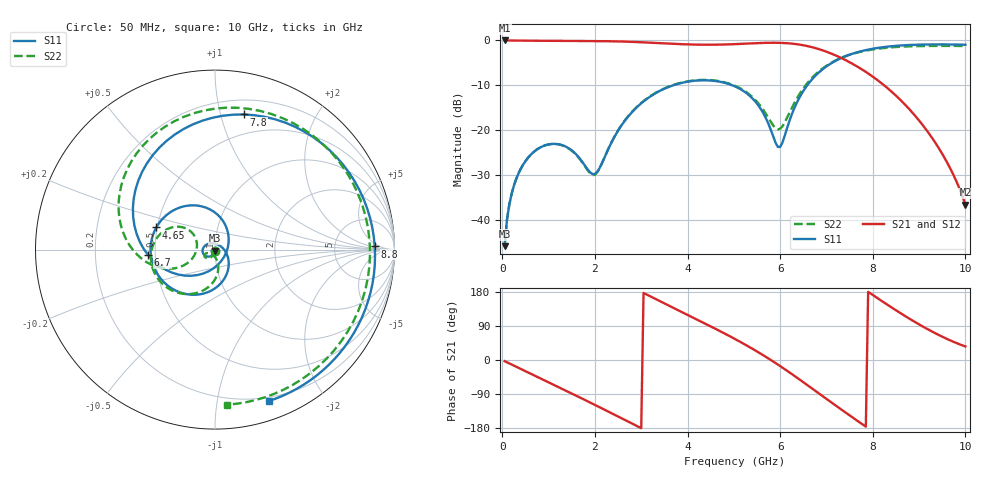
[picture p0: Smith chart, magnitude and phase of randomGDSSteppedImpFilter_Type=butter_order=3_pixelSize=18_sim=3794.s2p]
! freq	dB(S11)	phase(S11)	dB(S12)	phase(S12)
!  dB(S21)	phase(S21)	dB(S22)	phase(S22)
!S-par simulation data
#  GHz  S  DB  R 50
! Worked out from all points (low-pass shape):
!   200 points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, 50 MHz to 10 GHz, reference 50 ohm
!   highest |S21| = 0.00 dB at 50 MHz (marker M1); lowest = -36.7 dB at 10 GHz (marker M2)
!   |S21| within 3 dB of the highest: start of sweep to 7.121 GHz
!   lowest |S11| = -45.9 dB at 50 MHz (marker M3), VSWR 1.01, Z = 50 - j0.506 ohm
!   |S11| at or under -10 dB: start of sweep to 3.694 GHz; 4.965 GHz to 6.586 GHz (1.622 GHz wide, 28.1 % of centre)
!   |S22| runs from -45.9 to -1.2 dB; largest |S21 - S12| = 0
!   S11 on the Smith chart (normalised r, x): 50 MHz: 1.00, -0.01; 4.65 GHz: 0.49, +0.14; 6.7 GHz: 0.46, -0.03; 7.8 GHz: 0.32, +1.18; 8.8 GHz: 17, +3; 10 GHz: 0.17, -1.41
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0.05  -45.92 -90.2  -0.00 -3.0  -0.00 -3.0  -45.93 -90.6
0.1  -40.14 -94.6  -0.01 -6.0  -0.01 -6.0  -40.08 -93.2
0.25  -32.44 -106.3  -0.03 -14.8  -0.03 -14.8  -32.43 -102.2
0.6  -25.68 -131.1  -0.06 -35.4  -0.06 -35.4  -25.67 -120.6
1.2  -23.16 -175.3  -0.10 -70.7  -0.10 -70.7  -23.18 -148.2
1.75  -27.42 123.9  -0.13 -103.4  -0.13 -103.4  -27.58 -152.7
2.05  -29.34 42.1  -0.15 -121.5  -0.15 -121.5  -29.46 -105.2
2.65  -17.87 -54.4  -0.26 -158.3  -0.26 -158.3  -17.80 -83.2
3.4  -11.27 -113.0  -0.61 155.5  -0.61 155.5  -11.20 -116.7
4.05  -9.13 -158.3  -0.90 116.1  -0.90 116.1  -9.05 -149.4
4.65  -9.13 159.3  -0.94 79.5  -0.94 79.5  -9.03 -179.3
5.05  -10.38 128.5  -0.82 53.8  -0.82 53.8  -10.23 161.4
5.6  -15.59 74.5  -0.56 15.2  -0.56 15.2  -14.98 143.1
6  -23.79 -37.9  -0.54 -16.0  -0.54 -16.0  -19.71 -178.8
6.4  -13.08 -139.2  -0.90 -49.8  -0.90 -49.8  -12.28 -154.8
6.7  -8.56 -175.2  -1.54 -76.1  -1.54 -76.1  -8.22 -169.7
7.2  -4.52 133.1  -3.35 -120.2  -3.35 -120.2  -4.45 153.6
7.8  -2.27 78.0  -6.69 -171.7  -6.69 -171.7  -2.39 103.4
8.35  -1.35 33.4  -10.93 143.1  -10.93 143.1  -1.59 53.7
8.8  -1.01 1.1  -15.47 108.4  -15.47 108.4  -1.32 12.2
9.45  -0.89 -39.7  -24.46 64.5  -24.46 64.5  -1.22 -44.3
10  -0.96 -70.2  -36.69 35.7  -36.69 35.7  -1.24 -85.5
